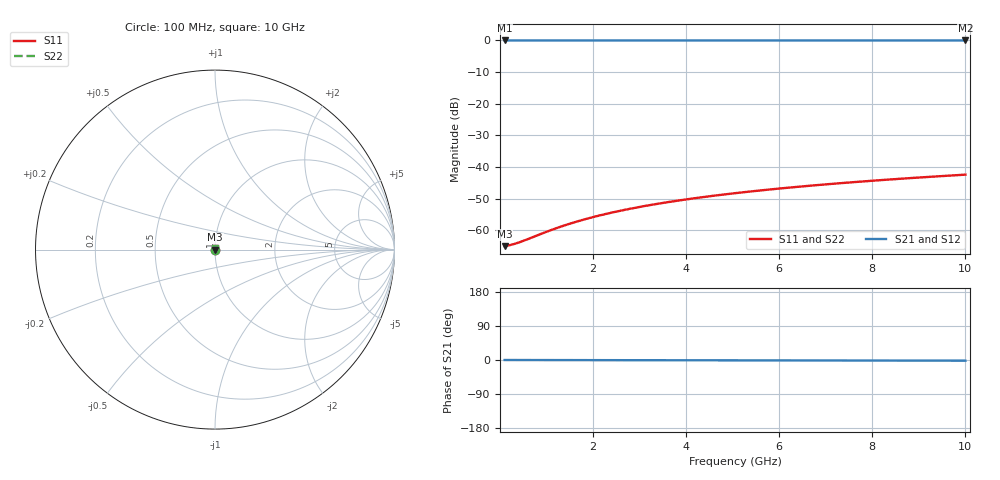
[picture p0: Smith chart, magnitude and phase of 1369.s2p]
# Hz S RI R 50.00
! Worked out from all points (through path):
!   100 points, 100 MHz to 10 GHz, reference 50 ohm
!   highest |S21| = 0.00 dB at 100 MHz (marker M1); lowest = 0.0 dB at 10 GHz (marker M2)
!   lowest |S11| = -65.0 dB at 100 MHz (marker M3), VSWR 1.00, Z = 50.1 + j0.00757 ohm
!   |S11| at or under -10 dB: start of sweep to end of sweep
!   |S22| runs from -65.0 to -42.4 dB; largest |S21 - S12| = 0
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1e8  0.000559 7.56e-05  0.9994 -0.000312  0.9994 -0.000312  0.000559 7.56e-05
2e8  0.000563 0.000151  0.9994 -0.000624  0.9994 -0.000624  0.000563 0.000151
3e8  0.000566 0.000227  0.9994 -0.000936  0.9994 -0.000936  0.000566 0.000227
4e8  0.000568 0.000302  0.9994 -0.00125  0.9994 -0.00125  0.000568 0.000302
6e8  0.000572 0.000453  0.9994 -0.00187  0.9994 -0.00187  0.000572 0.000453
1e9  0.000578 0.000756  0.9994 -0.00312  0.9994 -0.00312  0.000578 0.000756
1.2e9  0.000581 0.000907  0.9994 -0.00374  0.9994 -0.00374  0.000581 0.000907
1.5e9  0.000586 0.00113  0.9994 -0.00468  0.9994 -0.00468  0.000586 0.00113
1.8e9  0.000591 0.00136  0.9994 -0.00561  0.9994 -0.00561  0.000591 0.00136
2.1e9  0.000595 0.00159  0.9994 -0.00655  0.9994 -0.00655  0.000595 0.00159
2.5e9  0.000602 0.00189  0.9994 -0.0078  0.9994 -0.0078  0.000602 0.00189
2.9e9  0.00061 0.00219  0.9994 -0.00905  0.9994 -0.00905  0.00061 0.00219
3.4e9  0.00062 0.00257  0.9993 -0.0106  0.9993 -0.0106  0.00062 0.00257
3.8e9  0.000629 0.00287  0.9993 -0.0119  0.9993 -0.0119  0.000629 0.00287
4.2e9  0.000638 0.00317  0.9993 -0.0131  0.9993 -0.0131  0.000638 0.00317
4.6e9  0.000648 0.00347  0.9993 -0.0143  0.9993 -0.0143  0.000648 0.00347
5.1e9  0.000662 0.00385  0.9993 -0.0159  0.9993 -0.0159  0.000662 0.00385
5.9e9  0.000686 0.00446  0.9992 -0.0184  0.9992 -0.0184  0.000686 0.00446
6.7e9  0.000714 0.00506  0.9991 -0.0209  0.9991 -0.0209  0.000714 0.00506
7.5e9  0.000744 0.00566  0.9991 -0.0234  0.9991 -0.0234  0.000744 0.00566
8.4e9  0.000782 0.00634  0.999 -0.0262  0.999 -0.0262  0.000782 0.00634
1e10  0.000858 0.00755  0.9988 -0.0312  0.9988 -0.0312  0.000858 0.00755
